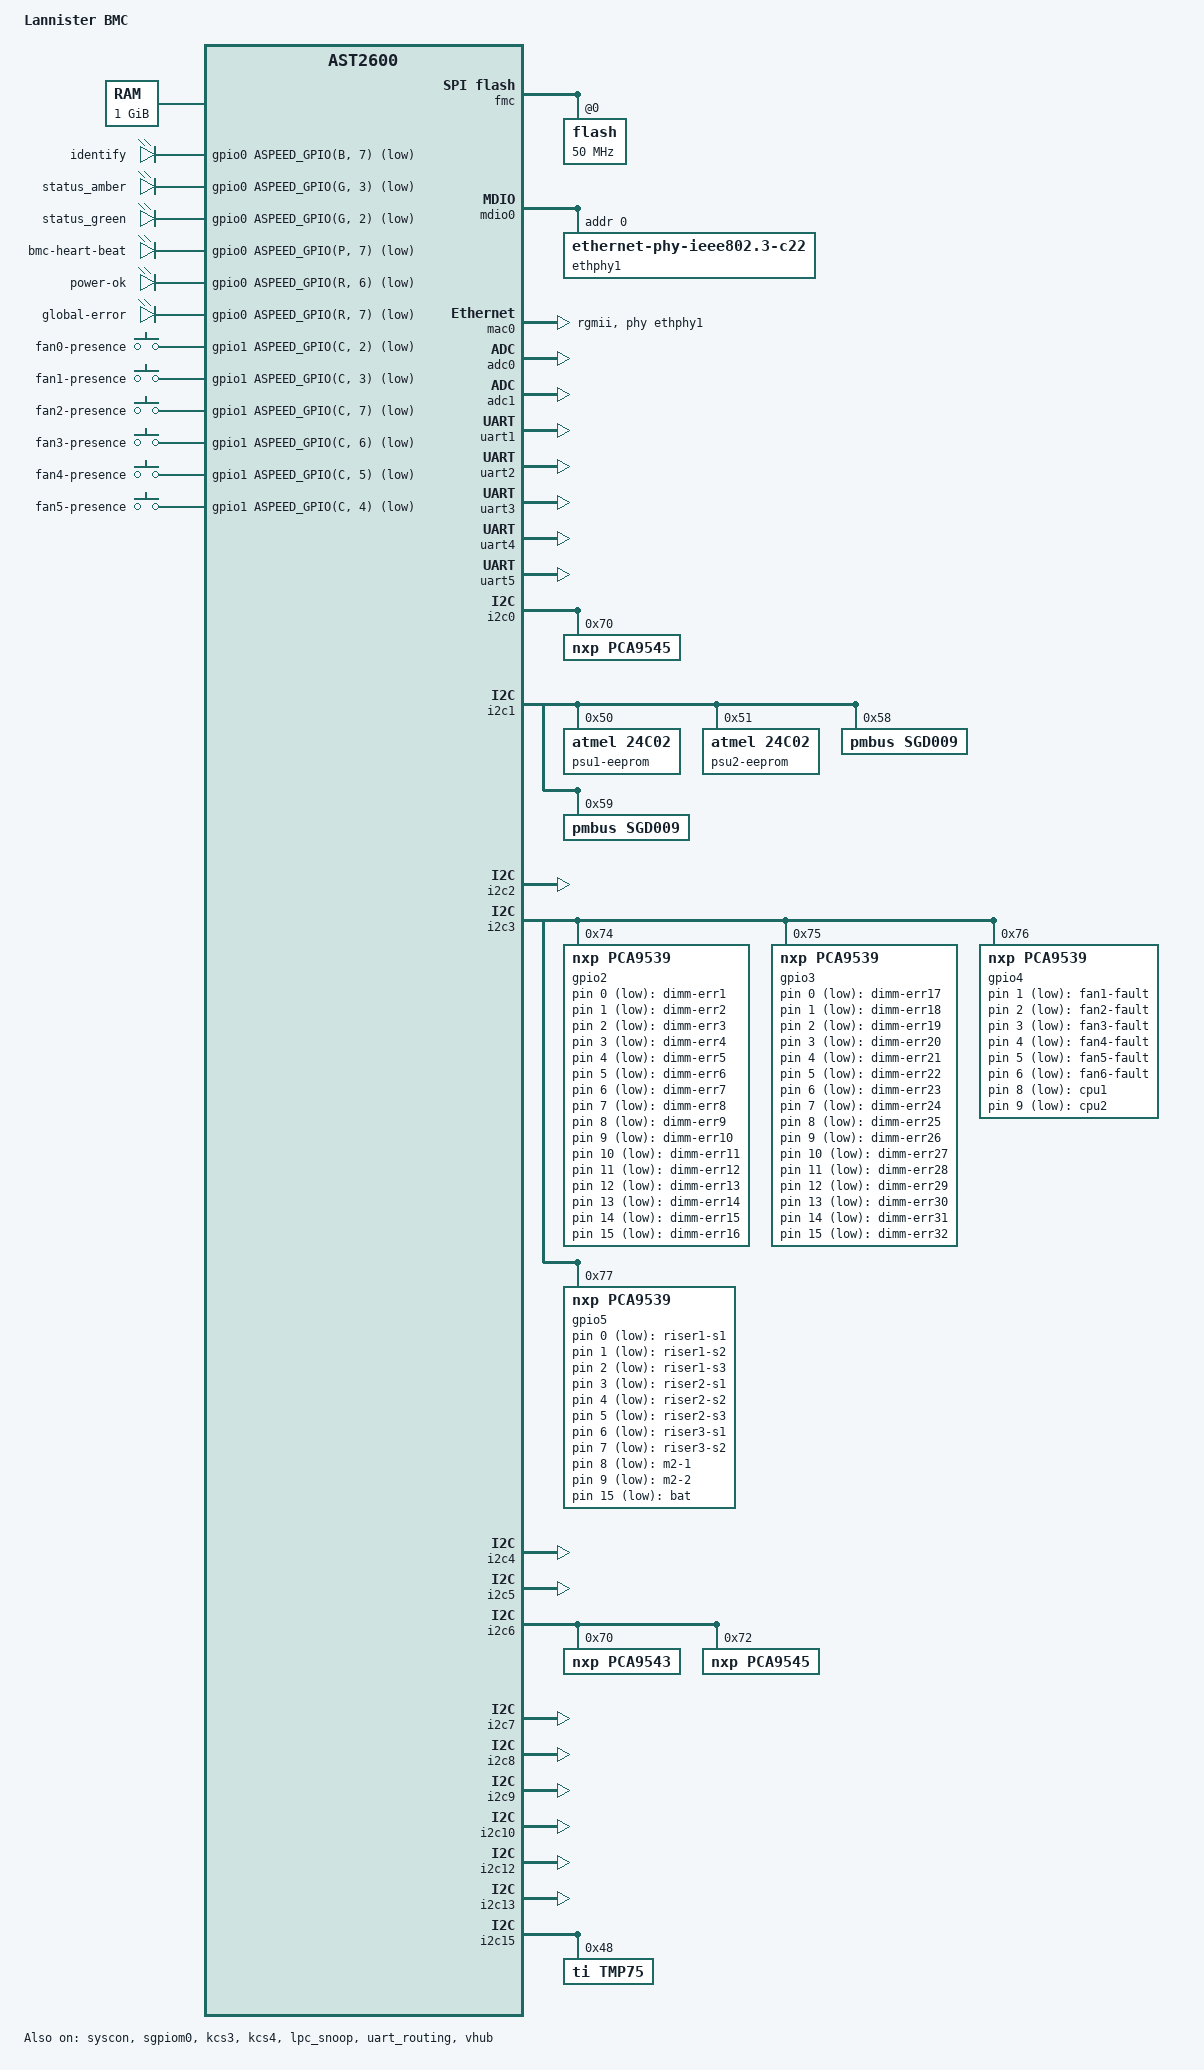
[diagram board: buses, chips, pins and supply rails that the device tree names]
// SPDX-License-Identifier: GPL-2.0+
/dts-v1/;

#include "aspeed-g6.dtsi"
#include <dt-bindings/gpio/aspeed-gpio.h>
#include <dt-bindings/i2c/i2c.h>

/ {
	model = "Lannister BMC";
	compatible = "aspeed,ast2600";

	chosen {
		stdout-path = &uart5;
		bootargs = "console=ttyS4,115200n8 root=/dev/ram rw init=/linuxrc";
	};

	memory@80000000 {
		device_type = "memory";
		reg = <0x80000000 0x40000000>;
	};

	reserved-memory {
		#address-cells = <1>;
		#size-cells = <1>;
		ranges;

		gfx_memory: framebuffer {
			size = <0x01000000>;
			alignment = <0x01000000>;
			compatible = "shared-dma-pool";
			reusable;
		};

		video_engine_memory: jpegbuffer {
			size = <0x02000000>;	/* 32M */
			alignment = <0x01000000>;
			compatible = "shared-dma-pool";
			reusable;
		};
	};

	reserved-memory {
		#address-cells = <1>;
		#size-cells = <1>;
		ranges;
		video_memory: video {
			size = <0x04000000>;
			alignment = <0x01000000>;
			compatible = "shared-dma-pool";
			no-map;
		};
	};

	leds {
		compatible = "gpio-leds";

		identify {
			default-state = "off";
			gpios = <&gpio0 ASPEED_GPIO(B, 7) GPIO_ACTIVE_LOW>;
		};

		status_amber {
			default-state = "off";
			gpios = <&gpio0 ASPEED_GPIO(G, 3) GPIO_ACTIVE_LOW>;
		};

		status_green {
			default-state = "keep";
			gpios = <&gpio0 ASPEED_GPIO(G, 2) GPIO_ACTIVE_LOW>;
		};

		bmc-heart-beat {
			default-state = "off";
			gpios = <&gpio0 ASPEED_GPIO(P, 7) GPIO_ACTIVE_LOW>;
		};

		power-ok {
			default-state = "keep";
			gpios = <&gpio0 ASPEED_GPIO(R, 6) GPIO_ACTIVE_LOW>;
		};

		global-error {
			default-state = "off";
			gpios = <&gpio0 ASPEED_GPIO(R, 7) GPIO_ACTIVE_LOW>;
		};

		dimm-err1 {
			default-state = "off";
			gpios = <&gpio2 0 GPIO_ACTIVE_LOW>;
		};

		dimm-err2 {
			default-state = "off";
			gpios = <&gpio2 1 GPIO_ACTIVE_LOW>;
		};

		dimm-err3 {
			default-state = "off";
			gpios = <&gpio2 2 GPIO_ACTIVE_LOW>;
		};

		dimm-err4 {
			default-state = "off";
			gpios = <&gpio2 3 GPIO_ACTIVE_LOW>;
		};

		dimm-err5 {
			default-state = "off";
			gpios = <&gpio2 4 GPIO_ACTIVE_LOW>;
		};

		dimm-err6 {
			default-state = "off";
			gpios = <&gpio2 5 GPIO_ACTIVE_LOW>;
		};

		dimm-err7 {
			default-state = "off";
			gpios = <&gpio2 6 GPIO_ACTIVE_LOW>;
		};

		dimm-err8 {
			default-state = "off";
			gpios = <&gpio2 7 GPIO_ACTIVE_LOW>;
		};

		dimm-err9 {
			default-state = "off";
			gpios = <&gpio2 8 GPIO_ACTIVE_LOW>;
		};

		dimm-err10 {
			default-state = "off";
			gpios = <&gpio2 9 GPIO_ACTIVE_LOW>;
		};

		dimm-err11 {
			default-state = "off";
			gpios = <&gpio2 10 GPIO_ACTIVE_LOW>;
		};

		dimm-err12 {
			default-state = "off";
			gpios = <&gpio2 11 GPIO_ACTIVE_LOW>;
		};

		dimm-err13 {
			default-state = "off";
			gpios = <&gpio2 12 GPIO_ACTIVE_LOW>;
		};

		dimm-err14 {
			default-state = "off";
			gpios = <&gpio2 13 GPIO_ACTIVE_LOW>;
		};

		dimm-err15 {
			default-state = "off";
			gpios = <&gpio2 14 GPIO_ACTIVE_LOW>;
		};

		dimm-err16 {
			default-state = "off";
			gpios = <&gpio2 15 GPIO_ACTIVE_LOW>;
		};

		dimm-err17 {
			default-state = "off";
			gpios = <&gpio3 0 GPIO_ACTIVE_LOW>;
		};

		dimm-err18 {
			default-state = "off";
			gpios = <&gpio3 1 GPIO_ACTIVE_LOW>;
		};

		dimm-err19 {
			default-state = "off";
			gpios = <&gpio3 2 GPIO_ACTIVE_LOW>;
		};

		dimm-err20 {
			default-state = "off";
			gpios = <&gpio3 3 GPIO_ACTIVE_LOW>;
		};

		dimm-err21 {
			default-state = "off";
			gpios = <&gpio3 4 GPIO_ACTIVE_LOW>;
		};

		dimm-err22 {
			default-state = "off";
			gpios = <&gpio3 5 GPIO_ACTIVE_LOW>;
		};

		dimm-err23 {
			default-state = "off";
			gpios = <&gpio3 6 GPIO_ACTIVE_LOW>;
		};

		dimm-err24 {
			default-state = "off";
			gpios = <&gpio3 7 GPIO_ACTIVE_LOW>;
		};

		dimm-err25 {
			default-state = "off";
			gpios = <&gpio3 8 GPIO_ACTIVE_LOW>;
		};

		dimm-err26 {
			default-state = "off";
			gpios = <&gpio3 9 GPIO_ACTIVE_LOW>;
		};

		dimm-err27 {
			default-state = "off";
			gpios = <&gpio3 10 GPIO_ACTIVE_LOW>;
		};

		dimm-err28 {
			default-state = "off";
			gpios = <&gpio3 11 GPIO_ACTIVE_LOW>;
		};

		dimm-err29 {
			default-state = "off";
			gpios = <&gpio3 12 GPIO_ACTIVE_LOW>;
		};

		dimm-err30 {
			default-state = "off";
			gpios = <&gpio3 13 GPIO_ACTIVE_LOW>;
		};

		dimm-err31 {
			default-state = "off";
			gpios = <&gpio3 14 GPIO_ACTIVE_LOW>;
		};

		dimm-err32 {
			default-state = "off";
			gpios = <&gpio3 15 GPIO_ACTIVE_LOW>;
		};

		fan1-fault {
			default-state = "off";
			gpios = <&gpio4 1 GPIO_ACTIVE_LOW>;
		};

		fan2-fault {
			default-state = "off";
			gpios = <&gpio4 2 GPIO_ACTIVE_LOW>;
		};

		fan3-fault {
			default-state = "off";
			gpios = <&gpio4 3 GPIO_ACTIVE_LOW>;
		};

		fan4-fault {
			default-state = "off";
			gpios = <&gpio4 4 GPIO_ACTIVE_LOW>;
		};

		fan5-fault {
			default-state = "off";
			gpios = <&gpio4 5 GPIO_ACTIVE_LOW>;
		};

		fan6-fault {
			default-state = "off";
			gpios = <&gpio4 6 GPIO_ACTIVE_LOW>;
		};

		cpu1 {
			default-state = "off";
			gpios = <&gpio4 8 GPIO_ACTIVE_LOW>;
		};

		cpu2 {
			default-state = "off";
			gpios = <&gpio4 9 GPIO_ACTIVE_LOW>;
		};

		riser1-s1 {
			default-state = "off";
			gpios = <&gpio5 0 GPIO_ACTIVE_LOW>;
		};

		riser1-s2 {
			default-state = "off";
			gpios = <&gpio5 1 GPIO_ACTIVE_LOW>;
		};

		riser1-s3 {
			default-state = "off";
			gpios = <&gpio5 2 GPIO_ACTIVE_LOW>;
		};

		riser2-s1 {
			default-state = "off";
			gpios = <&gpio5 3 GPIO_ACTIVE_LOW>;
		};

		riser2-s2 {
			default-state = "off";
			gpios = <&gpio5 4 GPIO_ACTIVE_LOW>;
		};

		riser2-s3 {
			default-state = "off";
			gpios = <&gpio5 5 GPIO_ACTIVE_LOW>;
		};

		riser3-s1 {
			default-state = "off";
			gpios = <&gpio5 6 GPIO_ACTIVE_LOW>;
		};

		riser3-s2 {
			default-state = "off";
			gpios = <&gpio5 7 GPIO_ACTIVE_LOW>;
		};

		m2-1 {
			default-state = "off";
			gpios = <&gpio5 8 GPIO_ACTIVE_LOW>;
		};

		m2-2 {
			default-state = "off";
			gpios = <&gpio5 9 GPIO_ACTIVE_LOW>;
		};

		bat {
			default-state = "off";
			gpios = <&gpio5 15 GPIO_ACTIVE_LOW>;
		};
	};

	gpio-keys-polled {
		compatible = "gpio-keys-polled";
		poll-interval = <1000>;

		fan0-presence {
			/* GPIO18C2 */
			label = "fan0-presence";
			gpios = <&gpio1 ASPEED_GPIO(C, 2) GPIO_ACTIVE_LOW>;
			linux,code = <ASPEED_GPIO(C, 2)>;
		};

		fan1-presence {
			/* GPIO18C3 */
			label = "fan1-presence";
			gpios = <&gpio1 ASPEED_GPIO(C, 3) GPIO_ACTIVE_LOW>;
			linux,code = <ASPEED_GPIO(C, 3)>;
		};

		fan2-presence {
			/* GPIO18C7 */
			label = "fan2-presence";
			gpios = <&gpio1 ASPEED_GPIO(C, 7) GPIO_ACTIVE_LOW>;
			linux,code = <ASPEED_GPIO(C, 7)>;
		};

		fan3-presence {
			/* GPIO18C6 */
			label = "fan3-presence";
			gpios = <&gpio1 ASPEED_GPIO(C, 6) GPIO_ACTIVE_LOW>;
			linux,code = <ASPEED_GPIO(C, 6)>;
		};

		fan4-presence {
			/* GPIO18C5 */
			label = "fan4-presence";
			gpios = <&gpio1 ASPEED_GPIO(C, 5) GPIO_ACTIVE_LOW>;
			linux,code = <ASPEED_GPIO(C, 5)>;
		};

		fan5-presence {
			/* GPIO18C4 */
			label = "fan5-presence";
			gpios = <&gpio1 ASPEED_GPIO(C, 4) GPIO_ACTIVE_LOW>;
			linux,code = <ASPEED_GPIO(C, 4)>;
		};
	};
};

&fmc {
	status = "okay";
	flash@0 {
		status = "okay";
		spi-max-frequency = <50000000>;
		spi-tx-bus-width = <4>;
		m25p,fast-read;
#include "openbmc-flash-layout-64.dtsi"
	};
};
&syscon {
	uart-clock-high-speed;
	status = "okay";

	misc_control {
		compatible = "aspeed,bmc-misc";
		chip_id {
			offset = <0x5b0>;
			bit-mask = <0xffffffff 0xffffffff>;
			bit-shift = <0>;
			read-only;
			reg-width = <64>;
			hash-data = "d44f9b804976fa23c2e25d62f16154d26520a7e24c5555095fd1b55c027804f1570dcd16189739c640cd7d9a6ce14944a2c4eaf1dc429eed6940e8a83498a474";
		};
	};
};

#if 0
 GPIO Alias: (runtime alias -> schematic name)
	ID_BUTTON -> FP_ID_BTN_N
	CPU_CATERR -> FM_PLT_BMC_THERMTRIP_N
	PCH_BMC_THERMTRIP -> FM_PLT_BMC_THERMTRIP_N
	RESET_BUTTON -> FP_BMC_RST_BTN_N
	RESET_OUT -> RST_BMC_RSTBTN_OUT_R_N
	POWER_BUTTON -> FP_BMC_PWR_BTN_R_N
	POWER_OUT -> FM_BMC_PWR_BTN_N
	PREQ_N -> DBP_ASD_BMC_PREQ_R_N
	POST_COMPLETE -> FM_BIOS_POST_CMPLT_BMC_N
	CPU_ERR0 -> FM_CPU_ERR0_LVT3_N
	CPU_ERR1 -> FM_CPU_ERR1_LVT3_N
	CPU_ERR2 -> FM_CPU_ERR2_LVT3_N
	DEBUG_EN_N -> FM_JTAG_TCK_MUX_SEL_R
	NMI_OUT -> IRQ_BMC_CPU_NMI_R
	PLTRST_N -> RST_PLTRST_BMC_N
	PRDY_N -> DBP_ASD_BMC_PRDY_R_N
	PWR_DEBUG_N ->
	XDP_PRST_N ->
	SYSPWROK ->
	RSMRST_N ->
	SIO_S3 -> FM_SLPS3_R_N
	SIO_S5 -> FM_SLPS4_R_N
	SIO_ONCONTROL -> FM_BMC_ONCTL_R_N
	SIO_POWER_GOOD -> PWRGD_CPU0_LVC3_R
	PS_PWROK -> PWRGD_BMC_PS_PWROK_R
	P3VBAT_BRIDGE_EN ->
	TCK_MUX_SEL ->
	SMI -> IRQ_SMI_ACTIVE_BMC_N
	NMI_BUTTON -> FP_NMI_BTN_N
#endif

&gpio0 {
	status = "okay";
	/* pinctrl-names = "pass-through";
	pinctrl-0 = <&pinctrl_thru0_default
			&pinctrl_thru1_default>; */
	gpio-line-names =
	/*A0-A7*/	"SMB_BMC0_MUX01_CLK_H","SMB_BMC0_MUX01_DAT_H","RST_BTN_IRMC_N","BTN_PWR_BMC_N","SMB_CPU_PIROM_SCL","SMB_CPU_PIROM_SDA","I2C_BMC_SCL14","I2C_BMC_SDA14",
	/*B0-B7*/	"FM_SEL_BMC_USB_HOST_N","NMI_OUT","IRQ_SMB3_M2_ALERT_N","SMB_BMC_2_PMBUS_ALERT_N","RST_BMC_PCIE_MUX_N","FM_BMC_EUP_LOT6_N","FM_BMC_BMCINIT_R","FP_ID_LED_N",
	/*C0-C7*/	"FM_FORCE_BMC_UPDATE_N","RST_RGMII_PHYRST_N","FM_TPM_EN_PULSE","FM_BMC_CRASHLOG_TRIG_N","IRQ_BMC_PCH_NMI_R","FM_CPU1_DISABLE_COD_N","SMB_BMCLC1_CLK_R_H","SMB_BMCLC1_DAT_R_H",
	/*D0-D7*/	"CPU_ERR0","CPU_ERR1","CPU_ERR2","PRDY_N","FM_SPD_SWITCH_CTRL_N","FM_RISER3_BMC_ID_0","FAN_PRSNT_LC2","FAN_PRSNT_LC1",
	/*E0-E7*/	"FM_RISER2_RBP_ID_R_0","LED_CSS_R_N","CLK_50M_CKMNG_BMCB","FM_BMC_BOARD_REV_ID2_N","FM_RISER2_ID_0","FM_RISER2_ID_1","SMB_BMCLC2_DAT_R_H","SMB_BMCLC2_CLK_R_H",
	/*F0-F7*/	"FM_BMC_BOARD_SKU_ID0_N","FM_BMC_BOARD_SKU_ID1_N","FM_BMC_BOARD_SKU_ID2_N","FM_BMC_BOARD_SKU_ID3_N","FM_BMC_BOARD_SKU_ID4_N ","FM_BMC_BOARD_SKU_ID5_N","PRSNT_MONITOR_FP_L","PS_PWROK",
	/*G0-G7*/	"FM_SMB_BMC_NVME_LVC3_ALERT_N","RST_BMC_I2C_M2_R_N","FP_LED_STATUS_GREEN_N","FP_LED_STATUS_AMBER_N","FM_BMC_BOARD_REV_ID0_N","FM_BMC_BOARD_REV_ID1_N","FM_BMC_CPU_FBRK_OUT_R_N","DBP_PRESENT_IN_R2_N",
	/*H0-H7*/	"SGPIO_BMC_CLK_R","SGPIO_BMC_LD_R_N","SGPIO_BMC_DOUT_R","SGPIO_BMC_DIN","PLTRST_N","CPU_CATERR","SMB_TEMPSENSOR_STBY_LVC3_R_SCL","SMB_TEMPSENSOR_STBY_LVC3_R_SDA",
	/*I0-I7*/	"JTAG_ASD_NTRST_R_N","JTAG_ASD_TDI_R","JTAG_ASD_TCK_R","JTAG_ASD_TMS_R","JTAG_ASD_TDO","FM_BMC_PWRBTN_OUT_R_N","","TP_FM_BMC_PCH_SCI_LPC_R_N",
	/*J0-J7*/	"I2C_BMC_RISER1_SCL1","I2C_BMC_RISER1_SDA1","I2C_BMC_PSU_SCL2","I2C_BMC_PSU_SDA2","I2C_BMC_PWR_SCL3","I2C_BMC_PWR_SDA3","I2C_BMC_SCL4","I2C_BMC_SDA4",
	/*K0-K7*/	"SMB_HSBP_STBY_LVC3_R_SCL","SMB_HSBP_STBY_LVC3_R_SDA","SMB_SMLINK0_STBY_LVC3_R2_SCL","SMB_SMLINK0_STBY_LVC3_R2_SDA","I2C_BMC_RISER2_SCL7","I2C_BMC_RISER2_SDA7","SMB_PMBUS_SML1_STBY_LVC3_R_SCL","SMB_PMBUS_SML1_STBY_LVC3_R_SDA",
	/*L0-L7*/	"SMB_PCIE_STBY_LVC3_R_SCL","SMB_PCIE_STBY_LVC3_R_SDA","SMB_HOST_STBY_BMC_LVC3_R_SCL","SMB_HOST_STBY_BMC_LVC3_R_SDA","PREQ_N","TCK_MUX_SEL","V_BMC_GFX_HSYNC_R","V_BMC_GFX_VSYNC_R",
	/*M0-M7*/	"SPA_CTS_N ","SPA_DCD_N","SPA_DSR_N","PU_SPA_RI_N","SPA_DTR_N","SPA_RTS_N","SPA_SOUT","SPA_SIN",
	/*N0-N7*/	"SPB_CTS_N","SPB_DCD_N","SPB_DSR_N","PU_SPB_RI_N","SPB_DTR_N","SPB_RTS_N","SPB_SOUT","SPB_SIN",
	/*O0-O7*/	"FAN_PWM_BMC_1_H","FAN_PWM_BMC_2_H","FAN_PWM_BMC_3_H","FAN_PWM_BMC_4_H","FAN_PWM_BMC_5_H","FAN_PWM_BMC_6_H","NMI_BUTTON","FM_RECOVER_BIOS_R_N",
	/*P0-P7*/	"RESET_BUTTON","RESET_OUT","POWER_BUTTON","POWER_OUT","FM_RISER3_BMC_ID_1","FM_RISER2_BMC_ID_2","RST_BMC_I2C_R_8","LED_BMC_HEARTBEAT_R_N",
	/*Q0-Q7*/	"FAN_TACH_BMC_0_N_BUF","FAN_TACH_BMC_1_N_BUF","FAN_TACH_BMC_2_N_BUF","FAN_TACH_BMC_3_N_BUF","FAN_TACH_BMC_4_N_BUF","FAN_TACH_BMC_5_N_BUF","FAN_TACH_BMC_6_N_BUF","FAN_TACH_BMC_7_N_BUF",
	/*R0-R7*/	"FAN_TACH_BMC_8_N_BUF","FAN_TACH_BMC_9_N_BUF","FAN_TACH_BMC_10_N_BUF","FAN_TACH_BMC_11_N_BUF","FAN_TACH_BMC_LC1_N_BUF","FAN_TACH_BMC_LC2_N_BUF","LED_PWROK_BMC_N","LED_GERR_IRMC_N",
	/*S0-S7*/	"RGMII_BMC_RMM4_LVC3_R_MDC","RGMII_BMC_RMM4_LVC3_R_MDIO","ID_BUTTON","PCH_BMC_THERMTRIP","TP_LED_BMC_HEARTBEAT_N","A_P3V_BAT_SCALED_EN","FM_ASD_EN_DET_R","FM_PCHHOT_N",
	/*T0-T7*/	"","","","","","","","",
	/*U0-U7*/	"","","","","","","","",
	/*V0-V7*/	"SIO_S3","SIO_S5","TP_BMC_SIO_PWREQ_N","SIO_ONCONTROL","SIO_POWER_GOOD","LED_BMC_HB_LED_N","FM_BMC_SUSACK_N","TP_IRQ_BMC_PCH_SMI_LPC_N_R",
	/*W0-W7*/	"LPC_LAD0_ESPI_R_IO0","LPC_LAD1_ESPI_R_IO1","LPC_LAD2_ESPI_R_IO2","LPC_LAD3_ESPI_R_IO3","CLK_24M_66M_LPC0_ESPI_BMC","LFRAME_N_ESPI_CS0_BMC_N","IRQ_LPC_SERIRQ_ESPI_ALERT_N","RST_LPC_LRST_ESPI_RST_BMC_R_N",
	/*X0-X7*/	"ERR_FAT_VRM_N","SMI","POST_COMPLETE","FM_CLR_LDL_H","PU_SPB_FORCEOFF_N","PU_SPA_FORCEOFF_N","FM_RISER1_RBP_ID_0","FM_OCP1_PRSNTB3_N",
	/*Y0-Y7*/	"FM_M2_PRSTN_BMC_N","IRQ_SML0_ALERT_BMC_R2_N","I2C_BUS8_INT_N","IRQ_SML1_PMBUS_BMC_ALERT_N","SPI_BMC_BOOT_R_IO2","SPI_BMC_BOOT_R_IO3","PU_SPI_BMC_BOOT_ABR","PU_SPI_BMC_BOOT_WP_N",
	/*Z0-Z7*/	"PWRGD_P3V3_RISER1","PWRGD_P3V3_RISER2","PRSNT_USB3_FP_X_L","PU_GPIOZ3","PU_GPIOZ4","PU_GPIOZ5","PU_GPIOZ6","PU_GPIOZ7";
};

&gpio1 {
	status = "disabled";
	gpio-line-names = /* GPIO18 A-E */
	/*A0-A7*/	"RGMII_BMC_RMM4_TX_R_CLK","RGMII_BMC_RMM4_TX_R_CTRL","RGMII_BMC_RMM4_R_TXD0","RGMII_BMC_RMM4_R_TXD1","RGMII_BMC_RMM4_R_TXD2","RGMII_BMC_RMM4_R_TXD3","RGMII_BMC_RMM4_RX_CLK","RGMII_BMC_RMM4_RX_CTRL",
	/*B0-B7*/	"RGMII_BMC_RMM4_RXD0","RGMII_BMC_RMM4_RXD1","RGMII_BMC_RMM4_RXD2","RGMII_BMC_RMM4_RXD3","FAN_PWM_BMC_LC2_H","FAN_PWM_BMC_LC1_H ","RST_EMMC_BMC_R_N","FM_RISER1_BMC_ID_2",
	/*C0-C7*/	"FM_RISER1_BMC_ID_1","FM_RISER1_BMC_ID_0","FAN_PRSNT1_N","FAN_PRSNT2_N","FAN_PRSNT6_N","FAN_PRSNT5_N","FAN_PRSNT4_N","FAN_PRSNT3_N",
	/*D0-D7*/	"EMMC_BMC_R_CLK","EMMC_BMC_R_CMD","EMMC_BMC_R_DATA0","EMMC_BMC_R_DATA1","EMMC_BMC_R_DATA2","EMMC_BMC_R_DATA3","EMMC_BMC_CD_N","EMMC_BMC_WP_N",
	/*E0-E3*/	"EMMC_BMC_R_DATA4","EMMC_BMC_R_DATA5","EMMC_BMC_R_DATA6","EMMC_BMC_R_DATA7";
};

&sgpiom0 {
	status = "okay";
};

&kcs3 {
	kcs_addr = <0xCA2>;
	status = "okay";
};

&kcs4 {
	kcs_addr = <0xCA4>;
	status = "okay";
};

&lpc_snoop {
	snoop-ports = <0x80>;
	status = "okay";
};

&mdio0 {
	status = "okay";

	ethphy1: ethernet-phy@0 {
		compatible = "ethernet-phy-ieee802.3-c22";
		reg = <0>;
	};
};

&mac0 {
	status = "okay";
	pinctrl-names = "default";
	pinctrl-0 = <&pinctrl_rgmii1_default>;
	clocks = <&syscon ASPEED_CLK_GATE_MAC1CLK>,
		 <&syscon ASPEED_CLK_MAC1RCLK>;
	clock-names = "MACCLK", "RCLK";
	phy-mode = "rgmii";
	phy-handle = <&ethphy1>;
};

&adc0 {
	status = "okay";
};

&adc1 {
	status = "okay";
};

&uart1 {
	status = "okay";
	pinctrl-0 = <&pinctrl_txd1_default
			 &pinctrl_rxd1_default
			 &pinctrl_nrts1_default
			 &pinctrl_ndtr1_default
			 &pinctrl_ndsr1_default
			 &pinctrl_ncts1_default
			 &pinctrl_ndcd1_default
			 &pinctrl_nri1_default>;
};

&uart2 {
	status = "okay";
	pinctrl-0 = <&pinctrl_txd2_default
			 &pinctrl_rxd2_default
			 &pinctrl_nrts2_default
			 &pinctrl_ndtr2_default
			 &pinctrl_ndsr2_default
			 &pinctrl_ncts2_default
			 &pinctrl_ndcd2_default
			 &pinctrl_nri2_default>;
};

&uart3 {
	status = "okay";
	pinctrl-0 = <>;
};

&uart4 {
	status = "okay";
	pinctrl-0 = <>;
};

&uart5 {
	status = "okay";
};

&uart_routing {
	status = "okay";
};

&i2c0 {
	/* I2C_BMC_RISER1 */
	multi-master;
	status = "okay";

	pca9545@70 {
		compatible = "nxp,pca9545";
		#address-cells = <1>;
		#size-cells = <0>;
		reg = <0x70>;
	};
};

&i2c1 {
	/* I2C_BMC_PSU */
	multi-master;
	status = "okay";

	psu1-eeprom@50 {
		compatible = "atmel,24c02";
		reg = <0x50>;
	};

	psu2-eeprom@51 {
		compatible = "atmel,24c02";
		reg = <0x51>;
	};

	pmbus@58 {
		compatible = "pmbus,sgd009";
		reg = <0x58>;
	};

	pmbus@59 {
		compatible = "pmbus,sgd009";
		reg = <0x59>;
	};
};

&i2c2 {
	/* I2C_BMC_PWR */
	multi-master;
	status = "okay";
};

&i2c3 {
	multi-master;
	status = "okay";

	gpio2: pca9539@74{
		compatible = "nxp,pca9539";
		reg = <0x74>;
		#address-cells = <1>;
		#size-cells = <0>;
		gpio-controller;
		#gpio-cells = <2>;

		gpio@0 {
			reg = <0>;
		};

		gpio@1 {
			reg = <1>;
		};

		gpio@2 {
			reg = <2>;
		};

		gpio@3 {
			reg = <3>;
		};

		gpio@4 {
			reg = <4>;
		};

		gpio@5 {
			reg = <5>;
		};

		gpio@6 {
			reg = <6>;
		};

		gpio@7 {
			reg = <7>;
		};

		gpio@8 {
			reg = <8>;
		};

		gpio@9 {
			reg = <9>;
		};

		gpio@10 {
			reg = <10>;
		};

		gpio@11 {
			reg = <11>;
		};

		gpio@12 {
			reg = <12>;
		};

		gpio@13 {
			reg = <13>;
		};

		gpio@14 {
			reg = <14>;
		};

		gpio@15 {
			reg = <15>;
		};
	};

	gpio3: pca9539@75{
		compatible = "nxp,pca9539";
		reg = <0x75>;
		#address-cells = <1>;
		#size-cells = <0>;
		gpio-controller;
		#gpio-cells = <2>;

		gpio@0 {
			reg = <0>;
		};

		gpio@1 {
			reg = <1>;
		};

		gpio@2 {
			reg = <2>;
		};

		gpio@3 {
			reg = <3>;
		};

		gpio@4 {
			reg = <4>;
		};

		gpio@5 {
			reg = <5>;
		};

		gpio@6 {
			reg = <6>;
		};

		gpio@7 {
			reg = <7>;
		};

		gpio@8 {
			reg = <8>;
		};

		gpio@9 {
			reg = <9>;
		};

		gpio@10 {
			reg = <10>;
		};

		gpio@11 {
			reg = <11>;
		};

		gpio@12 {
			reg = <12>;
		};

		gpio@13 {
			reg = <13>;
		};

		gpio@14 {
			reg = <14>;
		};

		gpio@15 {
			reg = <15>;
		};
	};

	gpio4: pca9539@76{
		compatible = "nxp,pca9539";
		reg = <0x76>;
		#address-cells = <1>;
		#size-cells = <0>;
		gpio-controller;
		#gpio-cells = <2>;

		gpio@0 {
			reg = <0>;
		};

		gpio@1 {
			reg = <1>;
		};

		gpio@2 {
			reg = <2>;
		};

		gpio@3 {
			reg = <3>;
		};

		gpio@4 {
			reg = <4>;
		};

		gpio@5 {
			reg = <5>;
		};

		gpio@6 {
			reg = <6>;
		};

		gpio@7 {
			reg = <7>;
		};

		gpio@8 {
			reg = <8>;
		};

		gpio@9 {
			reg = <9>;
		};

		gpio@10 {
			reg = <10>;
		};

		gpio@11 {
			reg = <11>;
		};

		gpio@12 {
			reg = <12>;
		};

		gpio@13 {
			reg = <13>;
		};

		gpio@14 {
			reg = <14>;
		};

		gpio@15 {
			reg = <15>;
		};
	};

	gpio5: pca9539@77{
		compatible = "nxp,pca9539";
		reg = <0x77>;
		#address-cells = <1>;
		#size-cells = <0>;
		gpio-controller;
		#gpio-cells = <2>;

		gpio@0 {
			reg = <0>;
		};

		gpio@1 {
			reg = <1>;
		};

		gpio@2 {
			reg = <2>;
		};

		gpio@3 {
			reg = <3>;
		};

		gpio@4 {
			reg = <4>;
		};

		gpio@5 {
			reg = <5>;
		};

		gpio@6 {
			reg = <6>;
		};

		gpio@7 {
			reg = <7>;
		};

		gpio@8 {
			reg = <8>;
		};

		gpio@9 {
			reg = <9>;
		};

		gpio@10 {
			reg = <10>;
		};

		gpio@11 {
			reg = <11>;
		};

		gpio@12 {
			reg = <12>;
		};

		gpio@13 {
			reg = <13>;
		};

		gpio@14 {
			reg = <14>;
		};

		gpio@15 {
			reg = <15>;
		};
	};
};

&i2c4 {
	/* SMB_HSBP_STBY_LVC3_R */
	multi-master;
	status = "okay";
};

&i2c5 {
	/* SMB_SMLINK0_STBY_LVC3_R2 */
	bus-frequency = <1000000>;
	multi-master;
	status = "okay";
};

&i2c6 {
	/* I2C_BMC_RISER2 */
	multi-master;
	status = "okay";

	pca9543@70 {
		compatible = "nxp,pca9543";
		#address-cells = <1>;
		#size-cells = <0>;
		reg = <0x70>;
	};

	pca9545@72 {
		compatible = "nxp,pca9545";
		#address-cells = <1>;
		#size-cells = <0>;
		reg = <0x72>;
	};
};

&i2c7 {
	/* SMB_PMBUS_SML1_STBY_LVC3_R */
	multi-master;
	status = "okay";
};

&i2c8 {
	/* SMB_PCIE_STBY_LVC3_R */
	multi-master;
	status = "okay";
};

&i2c9 {
	/* SMB_HOST_STBY_BMC_LVC3_R */
	multi-master;
	status = "okay";
};

&i2c10 {
	/* SMB_BMC0_MUX01 */
	multi-master;
	status = "okay";
};

&i2c12 {
	/* SMB_CPU_PIROM */
	multi-master;
	status = "okay";
};

&i2c13 {
	multi-master;
	status = "okay";
};

&i2c15 {
	/* SMB_TEMPSENSOR_STBY_LVC3_R */
	multi-master;
	status = "okay";

	tmp75@48 {
		compatible = "ti,tmp75";
		reg = <0x48>;
	};
};

&vhub {
	status = "okay";
};
